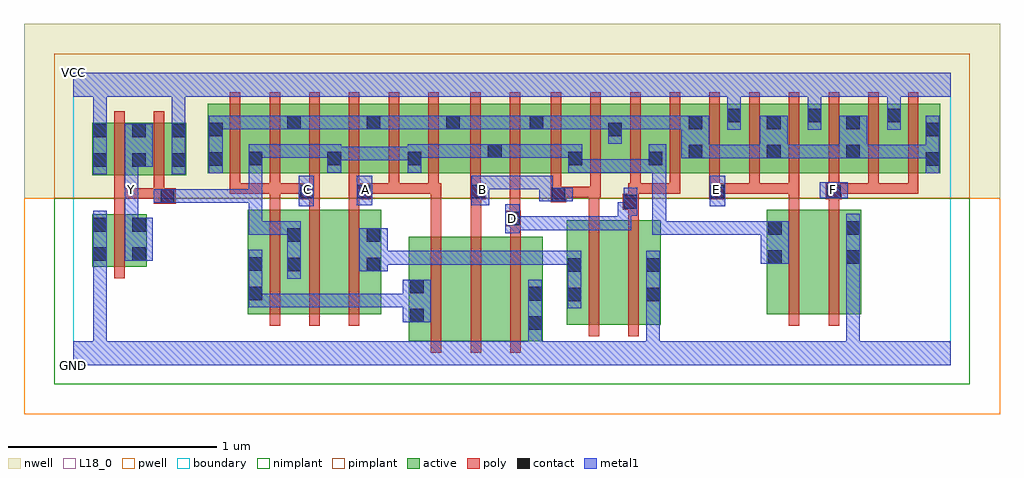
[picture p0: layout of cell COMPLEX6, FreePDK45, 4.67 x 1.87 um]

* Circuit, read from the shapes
.subckt COMPLEX6 A B C D E F GND VCC Y
M1 Y n1 GND VSUBS nfet w=0.25u l=0.05u
M2 n1 C n2 VSUBS nfet w=0.5u l=0.05u
M3 n3 C n1 VSUBS nfet w=0.5u l=0.05u
M4 n4 A n3 VSUBS nfet w=0.5u l=0.05u
M5 n5 A n2 VSUBS nfet w=0.5u l=0.05u
M6 n6 B n5 VSUBS nfet w=0.5u l=0.05u
M7 GND D n6 VSUBS nfet w=0.5u l=0.05u
M8 n7 B n4 VSUBS nfet w=0.5u l=0.05u
M9 GND D n7 VSUBS nfet w=0.5u l=0.05u
M10 n8 E n1 VSUBS nfet w=0.5u l=0.05u
M11 GND F n8 VSUBS nfet w=0.5u l=0.05u
M12 Y n1 VCC n9 pfet w=0.25u l=0.05u m=2
M13 n1 C n10 n9 pfet w=0.332u l=0.05u m=3
M14 n10 A n1 n9 pfet w=0.332u l=0.05u m=3
M15 n1 B n10 n9 pfet w=0.332u l=0.05u m=3
M16 n10 D n1 n9 pfet w=0.332u l=0.05u m=3
M17 VCC E n10 n9 pfet w=0.332u l=0.05u m=3
M18 n10 F VCC n9 pfet w=0.332u l=0.05u m=3
.ends

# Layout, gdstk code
import gdstk
lib = gdstk.Library(unit=1e-6, precision=1e-09)
def R(c, l, rs):  # rectangles x0, y0, x1, y1
    for r in rs: c.add(gdstk.rectangle(r[:2], r[2:], *l))
def A(c, l, x, y, w, h, nx, ny, dx, dy):  # array of equal rectangles
    R(c, l, [(x+i*dx, y+j*dy, x+i*dx+w, y+j*dy+h) for i in range(nx) for j in range(ny)])
active = (1, 0)
pwell = (2, 0)
nwell = (3, 0)
nimplant = (4, 0)
pimplant = (5, 0)
poly = (9, 0)
contact = (10, 0)
metal1 = (11, 0)
L18_0 = (18, 0)
boundary = (235, 0)

complex6 = lib.new_cell('COMPLEX6')
A(complex6, active, 3.315, 0.92, 0.075, 0.28, 3, 1, 0.38, 0)
R(complex6, active, [(1.607,0.115,1.832,0.615), (1.832,0.115,2.022,0.615), (2.022,0.115,2.247,0.615), (2.172,0.115,2.247,0.477), (2.362,0.195,2.587,0.695), (2.587,0.195,2.812,0.695), (2.737,0.195,2.812,0.695), (1.607,0.2,1.682,0.615), (0.835,0.245,0.91,0.745), (0.835,0.245,1.095,0.745), (1.02,0.245,1.25,0.745), (1.02,0.245,1.095,0.73), (1.25,0.245,1.475,0.745), (1.4,0.245,1.475,0.745), (2.362,0.245,2.437,0.592), (3.32,0.245,3.395,0.745), (3.32,0.245,3.545,0.745), (3.545,0.245,3.77,0.745), (3.695,0.245,3.77,0.745), (0.092,0.472,0.352,0.722), (0.092,0.472,0.167,0.722), (0.277,0.495,0.352,0.722), (0.092,0.91,0.352,1.16), (0.092,0.91,0.167,1.16), (0.277,0.91,0.542,1.16), (0.467,0.91,0.542,1.16), (0.645,0.92,0.72,1.2), (0.645,0.92,0.91,1.252), (0.835,0.92,1.095,1.252), (0.835,0.92,0.91,1.07), (1.02,0.92,1.287,1.252), (1.212,0.92,1.287,1.07), (1.212,0.92,1.475,1.252), (1.4,0.92,1.475,1.2), (1.4,0.92,1.67,1.252), (1.595,0.92,1.855,1.252), (1.595,0.92,1.67,1.07), (1.78,0.92,1.855,1.2), (1.78,0.92,2.055,1.252), (1.98,0.92,2.255,1.252), (2.18,0.92,2.44,1.252), (2.365,0.92,2.63,1.252), (2.365,0.92,2.44,1.07), (2.555,0.92,2.825,1.252), (2.75,0.92,3.015,1.252), (2.75,0.92,2.825,1.07), (2.94,0.92,3.015,1.2), (2.94,0.92,3.2,1.252), (3.125,0.92,3.39,1.252), (3.125,0.92,3.2,1.252), (3.315,0.92,3.585,1.252), (3.51,0.92,3.77,1.252), (3.695,0.92,3.965,1.252), (3.89,0.92,4.15,1.252), (0.277,0.945,0.352,1.16), (1.02,0.975,1.095,1.2), (1.98,0.975,2.055,1.07), (2.18,0.975,2.255,1.2), (2.555,0.975,2.63,1.2), (3.51,0.975,3.585,1.252), (3.89,0.975,3.965,1.252)])
R(complex6, pwell, [(-0.235,-0.235,4.435,0.8)])
R(complex6, nwell, [(-0.235,0.8,4.435,1.635)])
R(complex6, nimplant, [(-0.09,-0.09,4.29,0.8)])
R(complex6, pimplant, [(-0.09,0.8,4.29,1.49)])
A(complex6, poly, 1.712, 0.06, 0.05, 0.61, 3, 1, 0.19, 0)
A(complex6, poly, 0.94, 0.19, 0.05, 0.61, 3, 1, 0.19, 0)
A(complex6, poly, 0.75, 0.82, 0.05, 0.095, 6, 1, 0.19, 0)
A(complex6, poly, 2.665, 0.82, 0.05, 0.095, 8, 1, 0.19, 0)
A(complex6, poly, 0.75, 0.865, 0.05, 0.442, 6, 1, 0.19, 0)
A(complex6, poly, 2.285, 0.865, 0.05, 0.442, 10, 1, 0.19, 0)
R(complex6, poly, [(2.467,0.14,2.517,0.75), (2.657,0.14,2.707,0.75), (3.425,0.19,3.475,0.8), (3.615,0.19,3.665,0.8), (0.197,0.417,0.247,0.795), (1.712,0.62,1.762,0.87), (1.902,0.62,1.952,0.845), (2.092,0.62,2.142,0.715), (2.067,0.665,2.142,0.74), (2.09,0.69,2.14,0.74), (2.09,0.69,2.14,0.74), (2.09,0.69,2.14,0.915), (2.467,0.7,2.517,0.855), (2.657,0.7,2.707,0.795), (0.197,0.745,0.247,0.847), (2.63,0.745,2.707,0.82), (0.94,0.75,0.99,0.87), (1.13,0.75,1.18,0.845), (1.32,0.75,1.37,0.845), (3.425,0.75,3.475,0.87), (3.615,0.75,3.665,0.845), (2.657,0.77,2.707,0.87), (0.387,0.772,0.49,0.847), (2.285,0.78,2.36,0.855), (1.082,0.795,1.18,0.87), (1.13,0.795,1.18,0.845), (1.13,0.795,1.18,0.845), (1.32,0.795,1.37,0.845), (1.32,0.795,1.37,0.845), (1.32,0.795,1.427,0.87), (1.9,0.795,1.975,0.87), (1.902,0.795,1.952,0.845), (1.902,0.795,1.952,0.845), (3.045,0.795,3.12,0.87), (3.602,0.795,3.677,0.87), (0.197,0.797,0.437,0.847), (0.197,0.797,0.247,0.847), (0.197,0.797,0.247,0.847), (0.197,0.797,0.247,0.847), (0.197,0.797,0.247,0.905), (0.387,0.797,0.437,0.847), (0.387,0.797,0.437,0.847), (0.387,0.797,0.437,0.905), (2.285,0.805,2.335,0.915), (2.31,0.805,2.517,0.855), (2.467,0.805,2.517,0.855), (2.467,0.805,2.517,0.855), (2.467,0.805,2.517,0.855), (2.467,0.805,2.517,0.855), (2.467,0.805,2.525,0.855), (2.475,0.805,2.525,0.915), (0.75,0.82,0.99,0.87), (0.75,0.82,0.8,0.87), (0.75,0.82,0.8,0.87), (0.75,0.82,0.8,0.87), (0.94,0.82,0.99,0.87), (0.94,0.82,0.99,0.87), (0.94,0.82,0.99,0.87), (0.94,0.82,1.132,0.87), (1.082,0.82,1.132,0.87), (1.082,0.82,1.132,0.87), (1.377,0.82,1.427,0.87), (1.377,0.82,1.427,0.87), (1.377,0.82,1.56,0.87), (1.51,0.82,1.75,0.87), (1.51,0.82,1.56,0.87), (1.7,0.82,1.75,0.87), (1.7,0.82,1.75,0.87), (1.7,0.82,1.762,0.87), (1.712,0.82,1.762,0.87), (1.712,0.82,1.762,0.87), (1.9,0.82,1.95,0.915), (2.657,0.82,2.715,0.87), (2.665,0.82,2.905,0.87), (2.855,0.82,2.905,0.87), (2.855,0.82,2.905,0.87), (2.855,0.82,2.905,0.87), (3.07,0.82,3.12,0.87), (3.07,0.82,3.12,0.87), (3.07,0.82,3.285,0.87), (3.235,0.82,3.475,0.87), (3.235,0.82,3.285,0.87), (3.425,0.82,3.475,0.87), (3.425,0.82,3.475,0.87), (3.425,0.82,3.475,0.87), (3.425,0.82,3.475,0.87), (3.425,0.82,3.475,0.87), (3.615,0.82,3.855,0.87), (3.615,0.82,3.665,0.87), (3.615,0.82,3.665,0.87), (3.615,0.82,3.665,0.87), (3.615,0.82,3.665,0.87), (3.805,0.82,4.045,0.87), (3.805,0.82,3.855,0.87), (3.805,0.82,3.855,0.87), (3.805,0.82,3.855,0.87), (3.995,0.82,4.045,0.87), (0.197,0.855,0.247,1.215), (0.387,0.855,0.437,1.215), (1.9,0.865,1.95,1.307), (2.09,0.865,2.14,1.307)])
A(complex6, contact, 1.025, 1.13, 0.065, 0.065, 3, 1, 0.38, 0)
R(complex6, contact, [(2.177,0.17,2.242,0.235), (1.612,0.205,1.677,0.27), (2.367,0.307,2.432,0.372), (2.742,0.307,2.807,0.372), (2.177,0.31,2.242,0.375), (0.84,0.312,0.905,0.377), (1.612,0.345,1.677,0.41), (2.367,0.447,2.432,0.512), (2.742,0.447,2.807,0.512), (1.025,0.45,1.09,0.515), (1.405,0.45,1.47,0.515), (0.84,0.452,0.905,0.517), (3.325,0.485,3.39,0.55), (3.7,0.485,3.765,0.55), (0.097,0.5,0.162,0.565), (0.282,0.5,0.347,0.565), (1.025,0.59,1.09,0.655), (1.405,0.59,1.47,0.655), (3.325,0.625,3.39,0.69), (3.7,0.625,3.765,0.69), (0.097,0.64,0.162,0.705), (0.282,0.64,0.347,0.705), (2.072,0.67,2.137,0.735), (2.635,0.75,2.7,0.815), (0.42,0.777,0.485,0.842), (2.29,0.785,2.355,0.85), (1.087,0.8,1.152,0.865), (1.357,0.8,1.422,0.865), (1.905,0.8,1.97,0.865), (3.05,0.8,3.115,0.865), (3.607,0.8,3.672,0.865), (0.097,0.95,0.162,1.015), (0.282,0.95,0.347,1.015), (0.472,0.95,0.537,1.015), (0.65,0.955,0.715,1.02), (4.08,0.955,4.145,1.02), (0.84,0.957,0.905,1.022), (1.217,0.957,1.282,1.022), (1.6,0.957,1.665,1.022), (2.37,0.957,2.435,1.022), (2.755,0.957,2.82,1.022), (2.945,0.99,3.01,1.055), (3.32,0.99,3.385,1.055), (3.7,0.99,3.765,1.055), (1.985,0.992,2.05,1.057), (0.097,1.09,0.162,1.155), (0.282,1.09,0.347,1.155), (0.472,1.09,0.537,1.155), (0.65,1.095,0.715,1.16), (2.56,1.095,2.625,1.16), (4.08,1.095,4.145,1.16), (2.185,1.13,2.25,1.195), (2.945,1.13,3.01,1.195), (3.32,1.13,3.385,1.195), (3.7,1.13,3.765,1.195), (3.13,1.162,3.195,1.227), (3.515,1.162,3.58,1.227), (3.895,1.162,3.96,1.227)])
A(complex6, metal1, 0.99, 1.13, 0.135, 0.065, 3, 1, 0.38, 0)
R(complex6, metal1, [(0,0,4.2,0.115), (0.097,0.05,0.162,0.115), (0.097,0.05,0.162,0.115), (0.097,0.05,0.162,0.115), (0.097,0.05,0.162,0.115), (0.097,0.05,0.162,0.53), (2.177,0.05,2.242,0.115), (2.177,0.05,2.242,0.115), (2.177,0.05,2.242,0.2), (2.742,0.05,2.807,0.337), (3.7,0.05,3.765,0.115), (3.7,0.05,3.765,0.115), (3.7,0.05,3.765,0.515), (2.177,0.135,2.242,0.41), (1.577,0.205,1.712,0.41), (2.367,0.272,2.432,0.547), (2.742,0.272,2.807,0.337), (2.742,0.272,2.807,0.337), (2.742,0.272,2.807,0.547), (0.84,0.277,0.905,0.342), (0.84,0.277,0.905,0.342), (0.84,0.277,0.905,0.552), (0.84,0.277,1.042,0.342), (0.977,0.277,1.042,0.342), (0.977,0.277,1.042,0.342), (0.977,0.277,1.042,0.342), (0.977,0.277,1.282,0.342), (1.217,0.277,1.282,0.342), (1.217,0.277,1.282,0.342), (1.217,0.277,1.282,0.342), (1.217,0.277,1.42,0.342), (1.355,0.277,1.42,0.342), (1.355,0.277,1.42,0.342), (1.355,0.277,1.42,0.342), (1.355,0.277,1.642,0.342), (1.025,0.415,1.09,0.69), (1.37,0.45,1.505,0.655), (3.7,0.45,3.765,0.725), (0.097,0.465,0.162,0.53), (0.097,0.465,0.162,0.53), (0.097,0.465,0.162,0.74), (1.44,0.482,1.505,0.547), (1.44,0.482,1.505,0.547), (1.44,0.482,1.677,0.547), (1.612,0.482,1.677,0.547), (1.612,0.482,1.677,0.547), (1.612,0.482,1.677,0.547), (1.612,0.482,1.877,0.547), (1.812,0.482,1.877,0.547), (1.812,0.482,1.877,0.547), (1.812,0.482,1.877,0.547), (1.812,0.482,2.077,0.547), (2.012,0.482,2.077,0.547), (2.012,0.482,2.137,0.547), (2.072,0.482,2.137,0.547), (2.072,0.482,2.222,0.547), (2.157,0.482,2.222,0.547), (2.157,0.482,2.275,0.547), (2.21,0.482,2.275,0.547), (2.21,0.482,2.432,0.547), (3.29,0.485,3.425,0.69), (0.247,0.5,0.382,0.705), (0.84,0.625,0.905,0.69), (0.84,0.625,0.905,0.69), (0.84,0.625,0.905,0.69), (0.84,0.625,0.905,0.69), (0.84,0.625,0.905,0.69), (0.84,0.625,1.09,0.69), (0.84,0.625,0.905,0.842), (2.772,0.625,2.837,0.69), (2.772,0.625,2.975,0.69), (2.772,0.625,2.837,0.987), (2.91,0.625,2.975,0.69), (2.91,0.625,2.975,0.69), (2.91,0.625,2.975,0.69), (2.91,0.625,2.975,0.69), (2.91,0.625,2.975,0.69), (2.91,0.625,3.182,0.69), (3.117,0.625,3.182,0.69), (3.117,0.625,3.182,0.69), (3.117,0.625,3.182,0.69), (3.117,0.625,3.355,0.69), (3.29,0.625,3.355,0.69), (3.29,0.625,3.355,0.69), (3.29,0.625,3.355,0.69), (3.29,0.625,3.355,0.69), (2.067,0.632,2.137,0.77), (0.247,0.64,0.312,0.837), (2.072,0.647,2.295,0.712), (2.23,0.647,2.295,0.712), (2.23,0.647,2.295,0.712), (2.23,0.647,2.295,0.712), (2.23,0.647,2.462,0.712), (2.397,0.647,2.462,0.712), (2.397,0.647,2.462,0.712), (2.397,0.647,2.462,0.712), (2.397,0.647,2.67,0.712), (2.605,0.647,2.67,0.78), (2.605,0.715,2.7,0.78), (2.635,0.715,2.7,0.85), (1.08,0.762,1.152,0.907), (3.047,0.762,3.12,0.907), (1.357,0.765,1.432,0.907), (1.905,0.765,1.992,0.907), (0.247,0.772,0.312,0.907), (0.385,0.777,0.52,0.842), (0.455,0.777,0.52,0.842), (0.455,0.777,0.52,0.842), (0.455,0.777,0.675,0.842), (0.61,0.777,0.675,0.842), (0.61,0.777,0.675,0.842), (0.61,0.777,0.675,0.842), (0.61,0.777,0.905,0.842), (0.84,0.777,0.905,0.842), (0.84,0.777,0.905,0.987), (2.23,0.785,2.32,0.85), (2.23,0.785,2.295,0.907), (2.255,0.785,2.39,0.85), (3.572,0.8,3.707,0.877), (0.247,0.842,0.312,0.907), (0.247,0.842,0.312,0.907), (0.247,0.842,0.312,1.015), (1.927,0.842,2.032,0.907), (1.967,0.842,2.032,0.907), (1.967,0.842,2.13,0.907), (2.065,0.842,2.13,0.907), (2.065,0.842,2.295,0.907), (0.097,0.915,0.162,1.19), (0.472,0.915,0.537,1.19), (0.65,0.92,0.715,1.195), (4.08,0.92,4.145,1.195), (0.84,0.922,0.905,1.057), (1.217,0.922,1.282,1.057), (1.6,0.922,1.665,1.057), (2.37,0.922,2.435,0.987), (2.37,0.922,2.435,0.987), (2.37,0.922,2.435,1.057), (2.37,0.922,2.6,0.987), (2.535,0.922,2.6,0.987), (2.535,0.922,2.6,0.987), (2.535,0.922,2.6,0.987), (2.535,0.922,2.82,0.987), (2.755,0.922,2.837,1.057), (0.247,0.95,0.382,1.155), (1.217,0.98,1.282,1.045), (1.217,0.98,1.282,1.045), (1.217,0.98,1.42,1.045), (1.355,0.98,1.42,1.045), (1.355,0.98,1.42,1.045), (1.355,0.98,1.42,1.045), (1.355,0.98,1.665,1.045), (2.91,0.99,3.045,1.195), (2.98,0.99,3.045,1.055), (2.98,0.99,3.045,1.055), (2.98,0.99,3.212,1.055), (3.147,0.99,3.212,1.055), (3.147,0.99,3.212,1.055), (3.147,0.99,3.212,1.055), (3.147,0.99,3.35,1.055), (3.285,0.99,3.35,1.055), (3.285,0.99,3.35,1.055), (3.285,0.99,3.42,1.195), (3.355,0.99,3.492,1.055), (3.427,0.99,3.492,1.055), (3.427,0.99,3.557,1.055), (3.492,0.99,3.557,1.055), (3.492,0.99,3.63,1.055), (3.565,0.99,3.63,1.055), (3.565,0.99,3.73,1.055), (3.665,0.99,3.8,1.195), (3.735,0.99,3.8,1.055), (3.735,0.99,3.8,1.055), (3.735,0.99,3.937,1.055), (3.872,0.99,3.937,1.055), (3.872,0.99,4.145,1.055), (4.08,0.99,4.145,1.055), (4.08,0.99,4.145,1.055), (0.84,0.992,0.905,1.057), (0.84,0.992,0.905,1.057), (0.84,0.992,1.145,1.057), (1.08,0.992,1.145,1.057), (1.08,0.992,1.145,1.057), (1.08,0.992,1.145,1.057), (1.08,0.992,1.282,1.057), (1.6,0.992,1.665,1.057), (1.6,0.992,1.665,1.057), (1.6,0.992,1.877,1.057), (1.812,0.992,1.877,1.057), (1.812,0.992,1.877,1.057), (1.812,0.992,1.877,1.057), (1.812,0.992,2.015,1.057), (1.95,0.992,2.085,1.057), (2.02,0.992,2.137,1.057), (2.072,0.992,2.137,1.057), (2.072,0.992,2.275,1.057), (2.21,0.992,2.275,1.057), (2.21,0.992,2.275,1.057), (2.21,0.992,2.275,1.057), (2.21,0.992,2.435,1.057), (2.56,1.06,2.625,1.195), (0.097,1.125,0.162,1.19), (0.097,1.125,0.162,1.19), (0.097,1.125,0.162,1.35), (0.472,1.125,0.537,1.35), (3.13,1.127,3.195,1.262), (3.515,1.127,3.58,1.262), (3.895,1.127,3.96,1.262), (0.65,1.13,0.715,1.195), (0.65,1.13,0.715,1.195), (0.65,1.13,0.852,1.195), (0.787,1.13,0.852,1.195), (0.787,1.13,0.852,1.195), (0.787,1.13,0.852,1.195), (0.787,1.13,1.055,1.195), (1.06,1.13,1.125,1.195), (1.06,1.13,1.125,1.195), (1.06,1.13,1.282,1.195), (1.217,1.13,1.282,1.195), (1.217,1.13,1.282,1.195), (1.217,1.13,1.282,1.195), (1.217,1.13,1.435,1.195), (1.44,1.13,1.505,1.195), (1.44,1.13,1.505,1.195), (1.44,1.13,1.677,1.195), (1.612,1.13,1.677,1.195), (1.612,1.13,1.677,1.195), (1.612,1.13,1.677,1.195), (1.612,1.13,1.815,1.195), (1.82,1.13,1.885,1.195), (1.82,1.13,1.885,1.195), (1.82,1.13,2.077,1.195), (2.012,1.13,2.077,1.195), (2.012,1.13,2.13,1.195), (2.065,1.13,2.13,1.195), (2.065,1.13,2.215,1.195), (2.15,1.13,2.285,1.195), (2.22,1.13,2.285,1.195), (2.22,1.13,2.285,1.195), (2.22,1.13,2.432,1.195), (2.367,1.13,2.432,1.195), (2.367,1.13,2.432,1.195), (2.367,1.13,2.432,1.195), (2.367,1.13,2.625,1.195), (2.56,1.13,2.625,1.195), (2.56,1.13,2.625,1.195), (2.56,1.13,2.837,1.195), (2.772,1.13,2.837,1.195), (2.772,1.13,2.975,1.195), (2.91,1.13,2.975,1.195), (2.91,1.13,2.975,1.195), (3.13,1.197,3.195,1.35), (3.515,1.197,3.58,1.35), (3.895,1.197,3.96,1.35), (0,1.285,4.2,1.4), (0.472,1.285,0.537,1.35), (0.472,1.285,0.537,1.35)])
R(complex6, L18_0, [(0,0,4.2,0.115), (0.097,0.05,0.162,0.115), (0.097,0.05,0.162,0.115), (0.097,0.05,0.162,0.115), (0.097,0.05,0.162,0.115), (0.097,0.05,0.162,0.53), (2.177,0.05,2.242,0.115), (2.177,0.05,2.242,0.115), (2.177,0.05,2.242,0.2), (2.742,0.05,2.807,0.337), (3.7,0.05,3.765,0.115), (3.7,0.05,3.765,0.115), (3.7,0.05,3.765,0.515), (2.177,0.135,2.242,0.41), (2.742,0.272,2.807,0.337), (2.742,0.272,2.807,0.337), (2.742,0.272,2.807,0.547), (3.7,0.45,3.765,0.725), (0.097,0.465,0.162,0.53), (0.097,0.465,0.162,0.53), (0.097,0.465,0.162,0.74), (0.247,0.5,0.382,0.705), (2.067,0.632,2.137,0.77), (0.247,0.64,0.312,0.837), (2.072,0.647,2.295,0.712), (2.23,0.647,2.295,0.712), (2.23,0.647,2.295,0.712), (2.23,0.647,2.295,0.712), (2.23,0.647,2.462,0.712), (2.397,0.647,2.462,0.712), (2.397,0.647,2.462,0.712), (2.397,0.647,2.462,0.712), (2.397,0.647,2.67,0.712), (2.605,0.647,2.67,0.78), (2.067,0.667,2.132,0.732), (2.605,0.715,2.7,0.78), (2.635,0.715,2.7,0.85), (1.08,0.762,1.152,0.907), (3.047,0.762,3.12,0.907), (1.357,0.765,1.432,0.907), (1.905,0.765,1.992,0.907), (0.247,0.772,0.312,0.907), (2.23,0.785,2.295,0.907), (2.23,0.785,2.32,0.85), (2.255,0.785,2.39,0.85), (3.572,0.8,3.707,0.877), (0.247,0.807,0.312,0.872), (1.087,0.807,1.152,0.872), (1.367,0.807,1.432,0.872), (1.927,0.807,1.992,0.872), (3.047,0.807,3.112,0.872), (3.607,0.807,3.672,0.872), (0.247,0.842,0.312,0.907), (0.247,0.842,0.312,0.907), (0.247,0.842,0.312,1.015), (1.927,0.842,2.032,0.907), (1.967,0.842,2.032,0.907), (1.967,0.842,2.13,0.907), (2.065,0.842,2.13,0.907), (2.065,0.842,2.295,0.907), (0.097,0.915,0.162,1.19), (0.472,0.915,0.537,1.19), (0.247,0.95,0.382,1.155), (0.097,1.125,0.162,1.19), (0.097,1.125,0.162,1.19), (0.097,1.125,0.162,1.35), (0.472,1.125,0.537,1.35), (3.13,1.127,3.195,1.262), (3.515,1.127,3.58,1.262), (3.895,1.127,3.96,1.262), (3.13,1.197,3.195,1.35), (3.515,1.197,3.58,1.35), (3.895,1.197,3.96,1.35), (0,1.285,4.2,1.4), (0.472,1.285,0.537,1.35), (0.472,1.285,0.537,1.35)])
R(complex6, boundary, [(0,0,4.2,1.4)])
complex6.add(gdstk.Label('A', (1.4,0.84), layer=11, texttype=0))
complex6.add(gdstk.Label('B', (1.96,0.84), layer=11, texttype=0))
complex6.add(gdstk.Label('C', (1.12,0.84), layer=11, texttype=0))
complex6.add(gdstk.Label('D', (2.1,0.7), layer=11, texttype=0))
complex6.add(gdstk.Label('E', (3.08,0.84), layer=11, texttype=0))
complex6.add(gdstk.Label('F', (3.64,0.84), layer=11, texttype=0))
complex6.add(gdstk.Label('Y', (0.28,0.84), layer=11, texttype=0))
complex6.add(gdstk.Label('VCC', (0,1.4), layer=11, texttype=0))
complex6.add(gdstk.Label('GND', (0,0), layer=11, texttype=0))

lib.write_gds('COMPLEX6.gds')
